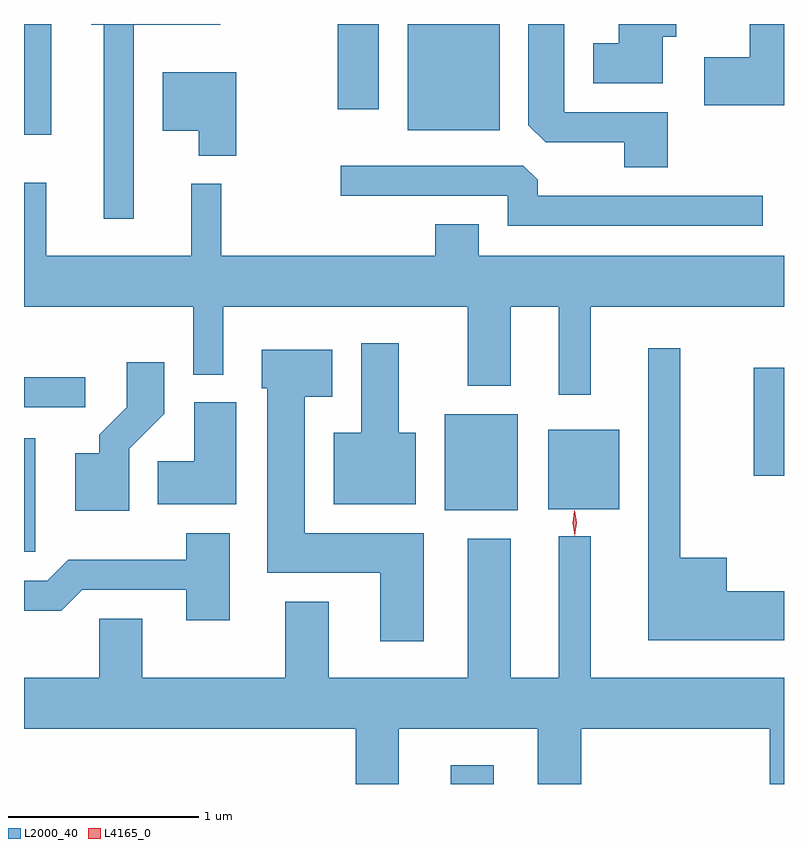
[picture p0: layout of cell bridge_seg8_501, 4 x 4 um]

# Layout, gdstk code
import gdstk
lib = gdstk.Library(unit=1e-6, precision=1e-09)
def R(c, l, rs):  # rectangles x0, y0, x1, y1
    for r in rs: c.add(gdstk.rectangle(r[:2], r[2:], *l))
def P(c, l, *ps):  # polygons
    for p in ps: c.add(gdstk.Polygon(p, *l))
L2000_40 = (2000, 40)
L4165_0 = (4165, 0)

bridge_seg8_501 = lib.new_cell('bridge_seg8_501')
R(bridge_seg8_501, L2000_40, [(212.191,1869.424,212.419,1869.524), (209.946,1870.646,210.004,1871.244), (212.161,1870.866,212.544,1871.369), (212.706,1870.871,213.079,1871.289), (213.786,1871.046,213.946,1871.614), (209.946,1871.406,210.268,1871.564), (209.946,1872.841,210.089,1873.424), (211.966,1872.866,212.449,1873.424), (211.596,1872.976,211.814,1873.424)])
P(bridge_seg8_501, L2000_40, [(210.524,1873.421),(210.979,1873.421),(210.979,1873.424),(210.301,1873.424),(210.301,1873.421),(210.366,1873.421),(210.366,1872.398),(210.524,1872.398)],
  [(213.309,1873.356),(213.379,1873.356),(213.379,1873.424),(213.076,1873.424),(213.076,1873.324),(212.941,1873.324),(212.941,1873.111),(213.309,1873.111)],
  [(213.946,1873.424),(213.766,1873.424),(213.766,1873.249),(213.526,1873.249),(213.526,1872.996),(213.946,1872.996)],
  [(213.334,1872.959),(212.789,1872.959),(212.789,1873.424),(212.601,1873.424),(212.601,1872.892),(212.692,1872.801),(213.106,1872.801),(213.106,1872.671),(213.334,1872.671)],
  [(211.064,1873.169),(210.676,1873.169),(210.676,1872.861),(210.866,1872.861),(210.866,1872.731),(211.064,1872.731)],
  [(213.833,1872.519),(212.649,1872.519),(212.649,1872.604),(212.574,1872.679),(211.613,1872.679),(211.613,1872.521),(212.491,1872.521),(212.491,1872.361),(213.833,1872.361)],
  [(212.929,1871.936),(213.946,1871.936),(213.946,1872.204),(212.339,1872.204),(212.339,1872.369),(212.111,1872.369),(212.111,1872.204),(210.984,1872.204),(210.984,1872.583),(210.826,1872.583),(210.826,1872.204),(210.064,1872.204),(210.064,1872.588),(209.946,1872.588),(209.946,1871.936),(210.836,1871.936),(210.836,1871.578),(210.994,1871.578),(210.994,1871.936),(212.281,1871.936),(212.281,1871.521),(212.509,1871.521),(212.509,1871.936),(212.761,1871.936),(212.761,1871.473),(212.929,1871.473)],
  [(212.009,1871.274),(211.919,1871.274),(211.919,1871.744),(211.721,1871.744),(211.721,1871.274),(211.576,1871.274),(211.576,1870.896),(212.009,1870.896)],
  [(213.946,1870.439),(213.644,1870.439),(213.644,1870.614),(213.399,1870.614),(213.399,1871.718),(213.231,1871.718),(213.231,1870.181),(213.946,1870.181)],
  [(212.049,1870.744),(211.424,1870.744),(211.424,1871.461),(211.569,1871.461),(211.569,1871.709),(211.196,1871.709),(211.196,1871.506),(211.226,1871.506),(211.226,1870.536),(211.821,1870.536),(211.821,1870.176),(212.049,1870.176)],
  [(210.499,1871.189),(210.684,1871.374),(210.684,1871.644),(210.486,1871.644),(210.486,1871.407),(210.341,1871.262),(210.341,1871.164),(210.216,1871.164),(210.216,1870.861),(210.499,1870.861)],
  [(211.064,1871.434),(210.841,1871.434),(210.841,1871.124),(210.651,1871.124),(210.651,1870.896),(211.064,1870.896)],
  [(211.029,1870.744),(210.801,1870.744),(210.801,1870.604),(210.179,1870.604),(210.069,1870.494),(209.946,1870.494),(209.946,1870.336),(210.142,1870.336),(210.252,1870.446),(210.801,1870.446),(210.801,1870.286),(211.029,1870.286)],
  [(211.919,1869.716),(212.651,1869.716),(212.651,1869.424),(212.879,1869.424),(212.879,1869.716),(213.871,1869.716),(213.871,1869.424),(213.946,1869.424),(213.946,1869.984),(212.929,1869.984),(212.929,1870.728),(212.761,1870.728),(212.761,1869.984),(212.509,1869.984),(212.509,1870.714),(212.281,1870.714),(212.281,1869.984),(211.549,1869.984),(211.549,1870.384),(211.321,1870.384),(211.321,1869.984),(210.569,1869.984),(210.569,1870.294),(210.341,1870.294),(210.341,1869.984),(209.946,1869.984),(209.946,1869.716),(211.691,1869.716),(211.691,1869.424),(211.919,1869.424)])
P(bridge_seg8_501, L4165_0, [(212.844,1870.733),(212.844,1870.733),(212.834,1870.797),(212.843,1870.861),(212.844,1870.862),(212.844,1870.861),(212.854,1870.798),(212.845,1870.733)],
  [(212.844,1870.73),(212.834,1870.798),(212.844,1870.866),(212.844,1870.866),(212.845,1870.866),(212.854,1870.798),(212.845,1870.73),(212.845,1870.73)])

lib.write_gds('bridge_seg8_501.gds')
